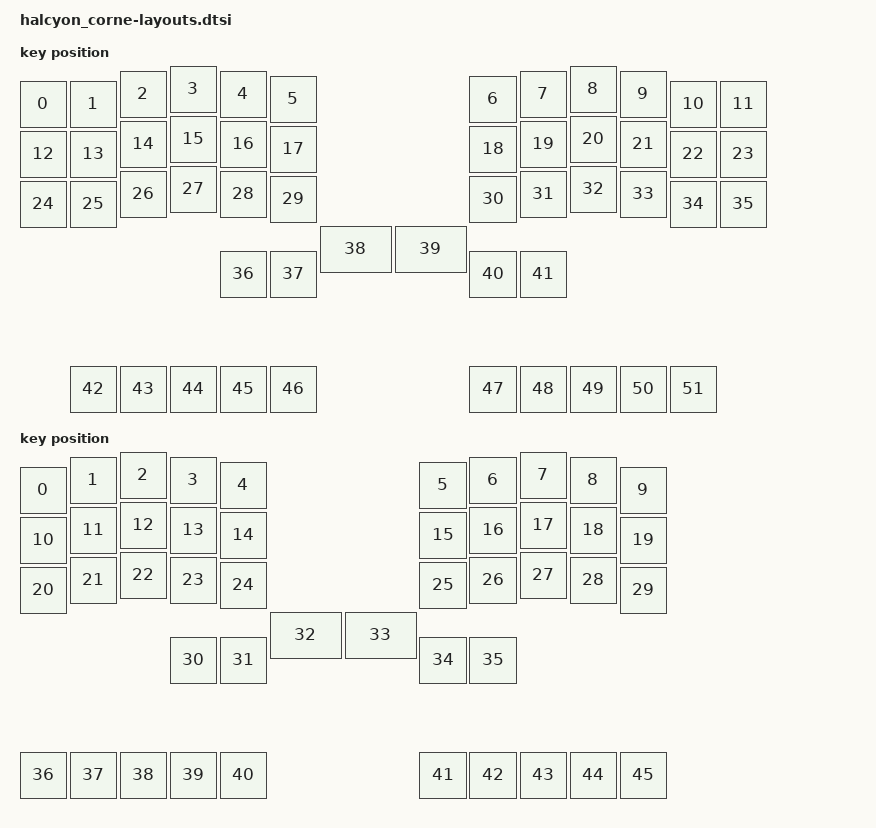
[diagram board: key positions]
#include <physical_layouts.dtsi>

/ {
    splitkb_halcyon_corne: splitkb_halcyon_corne {
        compatible = "zmk,physical-layout";
        display-name = "Halcyon Corne";

        keys  //                     w   h    x    y     rot    rx    ry
            = <&key_physical_attrs 100 100    0   30       0     0     0>
            , <&key_physical_attrs 100 100  100   30       0     0     0>
            , <&key_physical_attrs 100 100  200   10       0     0     0>
            , <&key_physical_attrs 100 100  300    0       0     0     0>
            , <&key_physical_attrs 100 100  400   10       0     0     0>
            , <&key_physical_attrs 100 100  500   20       0     0     0>
            , <&key_physical_attrs 100 100  900   20       0     0     0>
            , <&key_physical_attrs 100 100 1000   10       0     0     0>
            , <&key_physical_attrs 100 100 1100    0       0     0     0>
            , <&key_physical_attrs 100 100 1200   10       0     0     0>
            , <&key_physical_attrs 100 100 1300   30       0     0     0>
            , <&key_physical_attrs 100 100 1400   30       0     0     0>
            , <&key_physical_attrs 100 100    0  130       0     0     0>
            , <&key_physical_attrs 100 100  100  130       0     0     0>
            , <&key_physical_attrs 100 100  200  110       0     0     0>
            , <&key_physical_attrs 100 100  300  100       0     0     0>
            , <&key_physical_attrs 100 100  400  110       0     0     0>
            , <&key_physical_attrs 100 100  500  120       0     0     0>
            , <&key_physical_attrs 100 100  900  120       0     0     0>
            , <&key_physical_attrs 100 100 1000  110       0     0     0>
            , <&key_physical_attrs 100 100 1100  100       0     0     0>
            , <&key_physical_attrs 100 100 1200  110       0     0     0>
            , <&key_physical_attrs 100 100 1300  130       0     0     0>
            , <&key_physical_attrs 100 100 1400  130       0     0     0>
            , <&key_physical_attrs 100 100    0  230       0     0     0>
            , <&key_physical_attrs 100 100  100  230       0     0     0>
            , <&key_physical_attrs 100 100  200  210       0     0     0>
            , <&key_physical_attrs 100 100  300  200       0     0     0>
            , <&key_physical_attrs 100 100  400  210       0     0     0>
            , <&key_physical_attrs 100 100  500  220       0     0     0>
            , <&key_physical_attrs 100 100  900  220       0     0     0>
            , <&key_physical_attrs 100 100 1000  210       0     0     0>
            , <&key_physical_attrs 100 100 1100  200       0     0     0>
            , <&key_physical_attrs 100 100 1200  210       0     0     0>
            , <&key_physical_attrs 100 100 1300  230       0     0     0>
            , <&key_physical_attrs 100 100 1400  230       0     0     0>
            , <&key_physical_attrs 100 100  400  370       0     0     0>
            , <&key_physical_attrs 100 100  500  370       0     0     0>
            , <&key_physical_attrs 150 100  600  320       0     0     0>
            , <&key_physical_attrs 150 100  750  320       0     0     0>
            , <&key_physical_attrs 100 100  900  370       0     0     0>
            , <&key_physical_attrs 100 100 1000  370       0     0     0>
            , <&key_physical_attrs 100 100  100  600       0     0     0>
            , <&key_physical_attrs 100 100  200  600       0     0     0>
            , <&key_physical_attrs 100 100  300  600       0     0     0>
            , <&key_physical_attrs 100 100  400  600       0     0     0>
            , <&key_physical_attrs 100 100  500  600       0     0     0>
            , <&key_physical_attrs 100 100  900  600       0     0     0>
            , <&key_physical_attrs 100 100 1000  600       0     0     0>
            , <&key_physical_attrs 100 100 1100  600       0     0     0>
            , <&key_physical_attrs 100 100 1200  600       0     0     0>
            , <&key_physical_attrs 100 100 1300  600       0     0     0>
            ;
    };

    splitkb_halcyon_corne_5col: splitkb_halcyon_corne_5col {
        compatible = "zmk,physical-layout";
        display-name = "Halcyon Corne 5 Column";

        keys  //                     w   h    x    y     rot    rx    ry
            = <&key_physical_attrs 100 100  100   30       0     0     0>
            , <&key_physical_attrs 100 100  200   10       0     0     0>
            , <&key_physical_attrs 100 100  300    0       0     0     0>
            , <&key_physical_attrs 100 100  400   10       0     0     0>
            , <&key_physical_attrs 100 100  500   20       0     0     0>
            , <&key_physical_attrs 100 100  900   20       0     0     0>
            , <&key_physical_attrs 100 100 1000   10       0     0     0>
            , <&key_physical_attrs 100 100 1100    0       0     0     0>
            , <&key_physical_attrs 100 100 1200   10       0     0     0>
            , <&key_physical_attrs 100 100 1300   30       0     0     0>
            , <&key_physical_attrs 100 100  100  130       0     0     0>
            , <&key_physical_attrs 100 100  200  110       0     0     0>
            , <&key_physical_attrs 100 100  300  100       0     0     0>
            , <&key_physical_attrs 100 100  400  110       0     0     0>
            , <&key_physical_attrs 100 100  500  120       0     0     0>
            , <&key_physical_attrs 100 100  900  120       0     0     0>
            , <&key_physical_attrs 100 100 1000  110       0     0     0>
            , <&key_physical_attrs 100 100 1100  100       0     0     0>
            , <&key_physical_attrs 100 100 1200  110       0     0     0>
            , <&key_physical_attrs 100 100 1300  130       0     0     0>
            , <&key_physical_attrs 100 100  100  230       0     0     0>
            , <&key_physical_attrs 100 100  200  210       0     0     0>
            , <&key_physical_attrs 100 100  300  200       0     0     0>
            , <&key_physical_attrs 100 100  400  210       0     0     0>
            , <&key_physical_attrs 100 100  500  220       0     0     0>
            , <&key_physical_attrs 100 100  900  220       0     0     0>
            , <&key_physical_attrs 100 100 1000  210       0     0     0>
            , <&key_physical_attrs 100 100 1100  200       0     0     0>
            , <&key_physical_attrs 100 100 1200  210       0     0     0>
            , <&key_physical_attrs 100 100 1300  230       0     0     0>
            , <&key_physical_attrs 100 100  400  370       0     0     0>
            , <&key_physical_attrs 100 100  500  370       0     0     0>
            , <&key_physical_attrs 150 100  600  320       0     0     0>
            , <&key_physical_attrs 150 100  750  320       0     0     0>
            , <&key_physical_attrs 100 100  900  370       0     0     0>
            , <&key_physical_attrs 100 100 1000  370       0     0     0>
            , <&key_physical_attrs 100 100  100  600       0     0     0>
            , <&key_physical_attrs 100 100  200  600       0     0     0>
            , <&key_physical_attrs 100 100  300  600       0     0     0>
            , <&key_physical_attrs 100 100  400  600       0     0     0>
            , <&key_physical_attrs 100 100  500  600       0     0     0>
            , <&key_physical_attrs 100 100  900  600       0     0     0>
            , <&key_physical_attrs 100 100 1000  600       0     0     0>
            , <&key_physical_attrs 100 100 1100  600       0     0     0>
            , <&key_physical_attrs 100 100 1200  600       0     0     0>
            , <&key_physical_attrs 100 100 1300  600       0     0     0>
            ;
    };
};
